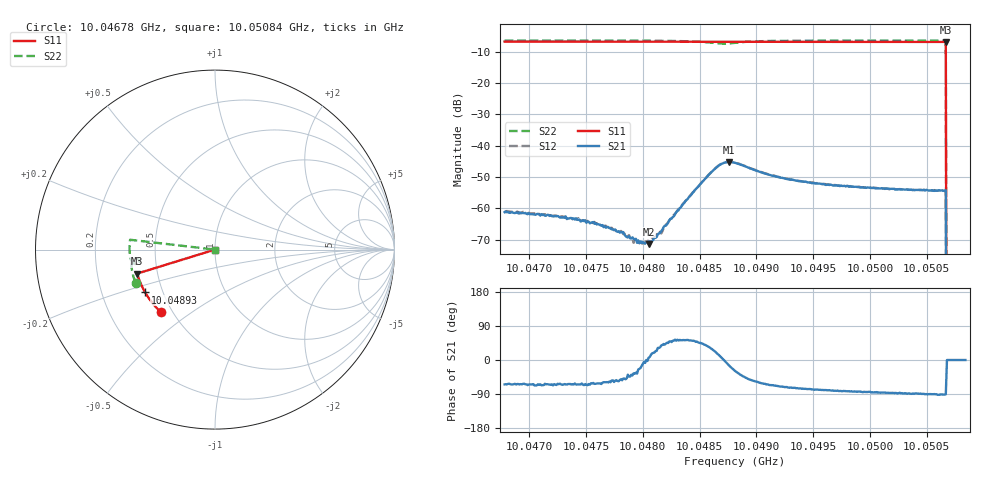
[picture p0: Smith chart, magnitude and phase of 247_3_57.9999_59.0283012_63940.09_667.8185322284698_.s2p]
#  HZ  S  RI  R  50.00
! Rohde & Schwarz Vector Network Analyzer
! Rohde-Schwarz,ZNB20-2Port,1311601062101988,3.16
! Created: UTC 3/21/2024, 1:01:19 AM
! freq[Hz]  re:S11  im:S11  re:S21  im:S21  re:S12  im:S12  re:S22  im:S22
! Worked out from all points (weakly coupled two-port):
!   401 points, 10.04678 GHz to 10.05084 GHz, reference 50 ohm
!   highest |S21| = -45.20 dB at 10.04876 GHz (marker M1); lowest = -71.4 dB at 10.04805 GHz (marker M2)
!   lowest |S11| = -6.9 dB at 10.05067 GHz (marker M3), VSWR 2.66, Z = 19.1 - j6.44 ohm
!   |S11| at or under -10 dB: 10.05067 GHz to end of sweep
!   |S22| runs from - to -6.4 dB; largest |S21 - S12| = 0.00038
!   S11 on the Smith chart (normalised r, x): 10.04678 GHz: 0.43, -0.38; 10.04893 GHz: 0.40, -0.24; 10.05084 GHz: 1.00, +0.00
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1.0046783e10  -0.301 -0.3488  0.000376 -0.000783  0.000433 -0.00073  -0.4424 -0.1848
1.004724e10  -0.3227 -0.3275  0.000305 -0.00068  0.000348 -0.000668  -0.4527 -0.1556
1.0047463e10  -0.3327 -0.3167  0.000296 -0.000552  0.000291 -0.000567  -0.4569 -0.1403
1.0047717e10  -0.3436 -0.304  0.000249 -0.00041  0.00028 -0.000392  -0.4611 -0.1227
1.0047818e10  -0.3478 -0.2988  0.000245 -0.000332  0.000284 -0.000305  -0.4624 -0.1151
1.0047869e10  -0.3499 -0.2962  0.000269 -0.000216  0.000255 -0.00023  -0.4632 -0.1113
1.0047991e10  -0.3549 -0.2897  0.00027 -7.39e-05  0.000257 -9.91e-05  -0.4642 -0.102
1.0048051e10  -0.3573 -0.2865  0.000267 2.79e-05  0.000302 5.87e-05  -0.4647 -0.0971
1.0048143e10  -0.3609 -0.2818  0.000341 0.000212  0.000321 0.000247  -0.4651 -0.0894
1.0048335e10  -0.3683 -0.2714  0.000632 0.000815  0.00061 0.000874  -0.4632 -0.0713
1.0048589e10  -0.3775 -0.2573  0.00296 0.00193  0.00288 0.00212  -0.4412 -0.0479
1.004868e10  -0.3804 -0.2522  0.00487 0.000871  0.00485 0.00116  -0.425 -0.0551
1.0048762e10  -0.3831 -0.248  0.00531 -0.00141  0.00542 -0.0011  -0.4245 -0.0724
1.0048812e10  -0.385 -0.2453  0.00468 -0.00256  0.00488 -0.00229  -0.4327 -0.0793
1.0048934e10  -0.3891 -0.2386  0.00279 -0.00343  0.00307 -0.00326  -0.4526 -0.077
1.0049188e10  -0.3974 -0.2238  0.00115 -0.00297  0.00132 -0.00288  -0.4691 -0.0536
1.0049492e10  -0.4065 -0.2059  0.000537 -0.00245  0.00071 -0.0025  -0.4746 -0.0282
1.0050172e10  -0.4238 -0.1646  0.000109 -0.00204  0.000252 -0.002  -0.4759 0.0209
1.0050648e10  -0.4334 -0.1348  -5.23e-05 -0.0019  7.43e-05 -0.00191  -0.4732 0.0534
1.0050669e10  -0.4337 -0.1336  -2.04e-05 -0.00194  3.67e-05 -0.00192  -0.473 0.0548
1.0050699e10  0 0  0 0  0 0  0 0
1.0050841e10  0 0  0 0  0 0  0 0
